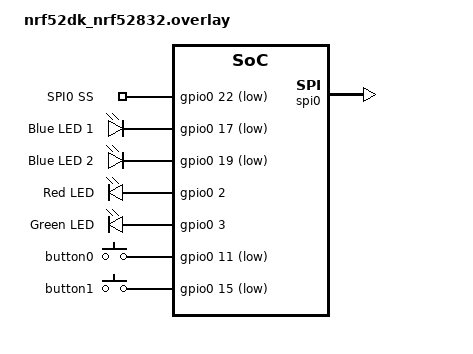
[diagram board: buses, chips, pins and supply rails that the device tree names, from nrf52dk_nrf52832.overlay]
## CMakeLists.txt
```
# SPDX-License-Identifier: Apache-2.0

cmake_minimum_required(VERSION 3.20.0)

find_package(Zephyr REQUIRED HINTS $ENV{ZEPHYR_BASE})
project(hello_world)

target_include_directories(app PRIVATE inc)
target_sources(app PRIVATE src/main.c src/max7219.c)
```

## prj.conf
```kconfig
CONFIG_SPI=y

CONFIG_BT=y
CONFIG_BT_PERIPHERAL=y
CONFIG_BT_DEVICE_NAME="nRF52 to MAX7219"

CONFIG_RTT_CONSOLE=y
CONFIG_LOG=y

CONFIG_FPU=y
```

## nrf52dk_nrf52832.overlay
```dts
// To get started, press Ctrl+Space to bring up the completion menu and view the available nodes.

&led0 {
	gpios = <&gpio0 17 GPIO_ACTIVE_LOW>;
	label = "Blue LED 1";
};

&led1 {
	gpios = <&gpio0 19 GPIO_ACTIVE_LOW>;
	label = "Blue LED 2";
};

&led2 {
	gpios = <&gpio0 2 GPIO_ACTIVE_HIGH>;
	label = "Red LED";
};

&led3 {
	gpios = <&gpio0 3 GPIO_ACTIVE_HIGH>;
	label = "Green LED";
};

&button0 {
	gpios = <&gpio0 11 (GPIO_PULL_UP | GPIO_ACTIVE_LOW)>;
};

&button1 {
	gpios = <&gpio0 15 (GPIO_PULL_UP | GPIO_ACTIVE_LOW)>;
};

&button2 {
	status = "disabled";
	/delete-property/ gpios;
};

&button3 {
	status = "disabled";
	/delete-property/ gpios;
};

&pwm0 {
	status = "disabled";
};


&spi0_default {
	group1 {
		psels = <NRF_PSEL(SPIM_MOSI, 0, 23)>,
			<NRF_PSEL(SPIM_MISO, 0, 24)>,
			<NRF_PSEL(SPIM_SCK, 0, 25)>;
	};
};

&i2c0_default {
	group1 {
		psels = <NRF_PSEL(TWIM_SDA, 0, 26)>,
			<NRF_PSEL(TWIM_SCL, 0, 27)>;
	};
};

my_spi0: &spi0 {
	status = "okay";
};

/ {
	my_gpio0 {
		compatible = "gpio-keys";
		spi0ss: spi0_ss {
			gpios = <&gpio0 22 GPIO_ACTIVE_LOW>;
			label = "SPI0 SS";
		};
	};

	aliases {
		myspi0ss = &spi0ss;
	};
};
```

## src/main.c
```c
#include <zephyr/kernel.h>
#include <zephyr/drivers/gpio.h>
#include <zephyr/drivers/spi.h>

#include <zephyr/settings/settings.h>

#include <zephyr/bluetooth/bluetooth.h>
#include <zephyr/bluetooth/hci.h>
#include <zephyr/bluetooth/uuid.h>
#include <zephyr/bluetooth/conn.h>
#include <zephyr/bluetooth/gatt.h>

#include "max7219.h"

#define LED0_NODE				DT_ALIAS(led0)
#define LED2_NODE				DT_ALIAS(led2)
#define LED3_NODE				DT_ALIAS(led3)
#define SPI0_NODE				DT_NODELABEL(my_spi0)
#define SPI0_SS_NODE			DT_ALIAS(myspi0ss)

#define BT_UUID_SERVICE			BT_UUID_128_ENCODE(0x1b36fd1e, 0x6fc4, 0x4dc6, 0x8c82, 0xc13552b88789)
#define BT_UUID_CHARACTERISTIC	BT_UUID_128_ENCODE(0x4ee58129, 0xa22f, 0x41cd, 0xbdca, 0x4079fe0632d0)
#define BT_CHARACTERISTIC_MAX_LENGTH		6

static const struct gpio_dt_spec led0 = GPIO_DT_SPEC_GET(LED0_NODE, gpios);
static const struct gpio_dt_spec led2 = GPIO_DT_SPEC_GET(LED2_NODE, gpios);
static const struct gpio_dt_spec led3 = GPIO_DT_SPEC_GET(LED3_NODE, gpios);
static const struct gpio_dt_spec spi0_ss = GPIO_DT_SPEC_GET(SPI0_SS_NODE, gpios);

static struct spi_config spi_config = {
	.operation = SPI_WORD_SET(8),
	// 100kHz
	.frequency = 1000000
};

static struct max7219_config max7219_config = {
	.spi_config = &spi_config,
	.gpio_load = &spi0_ss,
	.num_cascading = MAX7219_NUM_CASCADING
};

static uint8_t max7219_tx_buf[MAX7219_NUM_CASCADING * 2];

static struct max7219_data max7219_data = {
	.tx_buf = max7219_tx_buf
};

static struct bt_uuid_128 service_uuid = BT_UUID_INIT_128(BT_UUID_SERVICE);
static struct bt_uuid_128 characteristic_uuid = BT_UUID_INIT_128(BT_UUID_CHARACTERISTIC);

static struct bt_data advertising_data[] = {
	BT_DATA_BYTES(BT_DATA_FLAGS, BT_LE_AD_GENERAL | BT_LE_AD_NO_BREDR),
	BT_DATA_BYTES(BT_DATA_UUID128_ALL, BT_UUID_SERVICE)
};

static uint8_t characteristic_value[BT_CHARACTERISTIC_MAX_LENGTH] = { 0 } ;

void update_7seg()
{
	int32_t price = (characteristic_value[2] << 24) + (characteristic_value[3] << 16) + (characteristic_value[4] << 8) + characteristic_value[5];

	uint8_t digit_value[4] = { 0 };
	
	if (price < 0)
	{
		// マイナス
		// "----" 表示
		for (int i = 0; i < 4; i++)
		{
			digit_value[i] = 0x0A;
		}
	}
	else
	{
		digit_value[0] = (price / 1000) % 10;
		digit_value[1] = (price / 100) % 10;
		digit_value[2] = (price / 10) % 10;
		digit_value[3] = price % 10;

		// 1000 to 10 の位: 0のとき非表示
		for (int i = 0; i < 3; i++)
		{
			if (digit_value[i] == 0)
			{
				digit_value[i] = 0x0F;
			}
			else
			{
				break;
			}
		}
	}

	int i;

	switch (characteristic_value[0])
	{
		case 0:
			// 金額カウント
			// LED: 緑
			gpio_pin_set_dt(&led2, GPIO_ACTIVE_LOW);
			gpio_pin_set_dt(&led3, GPIO_ACTIVE_HIGH);
			// 緑: 金額表示
			for (i = 0x00; i < 0x04; i++)
			{
				max7219_write(&max7219_config, &max7219_data, i + 1, digit_value[i]);
			}

			for (i = 0x04; i < 0x08; i++)
			{
				max7219_write(&max7219_config, &max7219_data, i + 1, 0x0F);
			}
			break;
		case 1:
			// 金額入力
			// LED: 消灯
			gpio_pin_set_dt(&led2, GPIO_ACTIVE_LOW);
			gpio_pin_set_dt(&led3, GPIO_ACTIVE_LOW);
			// オレンジ: 金額表示
			for (i = 0x00; i < 0x04; i++)
			{
				max7219_write(&max7219_config, &max7219_data, i + 1, digit_value[i]);
			}

			for (i = 0x04; i < 0x08; i++)
			{
				max7219_write(&max7219_config, &max7219_data, i + 1, digit_value[i - 4]);
			}
			break;
		case 2:
			// 会計前 総額
			// LED: 赤
			gpio_pin_set_dt(&led2, GPIO_ACTIVE_HIGH);
			gpio_pin_set_dt(&led3, GPIO_ACTIVE_LOW);
			// 赤: 金額表示
			for (i = 0x00; i < 0x04; i++)
			{
				max7219_write(&max7219_config, &max7219_data, i + 1, 0x0F);
			}

			for (i = 0x04; i < 0x08; i++)
			{
				max7219_write(&max7219_config, &max7219_data, i + 1, digit_value[i - 4]);
			}
			break;
		case 3:
			// 会計完了
			// LED: 消灯
			gpio_pin_set_dt(&led2, GPIO_ACTIVE_LOW);
			gpio_pin_set_dt(&led3, GPIO_ACTIVE_LOW);
			// 緑: "0" へ戻す
			for (i = 0x00; i < 0x08; i++)
			{
				max7219_write(&max7219_config, &max7219_data, i + 1, 0x0F);
			}

			max7219_write(&max7219_config, &max7219_data, 0x04, 0x00);
			break;
		default:
			// その他
			// オレンジ: "----" 表示
			for (i = 0x00; i < 0x08; i++)
			{
				max7219_write(&max7219_config, &max7219_data, i + 1, 0x0A);
			}
			break;
	}
}

ssize_t on_read_characteristic(struct bt_conn* conn, const struct bt_gatt_attr* attr, void* buf, uint16_t len, uint16_t offset)
{
	uint8_t* value = (uint8_t*)(attr->user_data);

	return bt_gatt_attr_read(conn, attr, buf, len, offset, value, sizeof(characteristic_value));
}

static ssize_t on_write_characteristic(struct bt_conn* conn, const struct bt_gatt_attr* attr, const void* buf, uint16_t len, uint16_t offset, uint8_t flags)
{
	uint8_t* value = (uint8_t*)(attr->user_data);

	if (offset + len > sizeof(characteristic_value))
	{
		return BT_GATT_ERR(BT_ATT_ERR_INVALID_OFFSET);
	}

	memcpy(value + offset, buf, len);

	update_7seg();

	return len;
}

BT_GATT_SERVICE_DEFINE(gatt_service,
	BT_GATT_PRIMARY_SERVICE(&service_uuid),
	BT_GATT_CHARACTERISTIC(&characteristic_uuid.uuid,
		BT_GATT_CHRC_READ | BT_GATT_CHRC_WRITE,
		BT_GATT_PERM_READ | BT_GATT_PERM_WRITE,
		on_read_characteristic, on_write_characteristic, characteristic_value),
	BT_GATT_CUD("Type, Numbers, Price (6 bytes)", BT_GATT_PERM_READ)
);

static void on_mtu_updated(struct bt_conn* conn, uint16_t tx, uint16_t rx)
{
	printk("Updated MTU: TX=%d, RX=%d\n", tx, rx);
}

static struct bt_gatt_cb gatt_callbacks = {
	.att_mtu_updated = on_mtu_updated
};

static void on_connected(struct bt_conn* conn, uint8_t err)
{
	if (err)
	{
		printk("Connection failed: 0x%02x\n", err);
		return;
	}

	printk("Connected\n");
	// Advertising LED: 消灯
	gpio_pin_set_dt(&led0, GPIO_ACTIVE_LOW);
}

static void on_disconnected(struct bt_conn* conn, uint8_t reason)
{
	printk("Disconnected: 0x%02x\n", reason);
	// Advertising LED: 点灯
	gpio_pin_set_dt(&led0, GPIO_ACTIVE_HIGH);
}

BT_CONN_CB_DEFINE(connected_callbacks) = {
	.connected = on_connected,
	.disconnected = on_disconnected
};

void main(void)
{
	int32_t ret;

	// Advertising LED
	if (!device_is_ready(led0.port))
	{
		printk("LED0 GPIO is not ready\n");
		return;
	}

	ret = gpio_pin_configure_dt(&led0, GPIO_OUTPUT_ACTIVE);
	if (ret < 0)
	{
		printk("LED0 GPIO configure error: %d\n", ret);
		return;
	}

	// Red LED
	if (!device_is_ready(led2.port))
	{
		printk("LED2 GPIO is not ready\n");
		return;
	}

	ret = gpio_pin_configure_dt(&led2, GPIO_OUTPUT_ACTIVE);
	if (ret < 0)
	{
		printk("LED2 GPIO configure error: %d\n", ret);
		return;
	}

	// Green LED
	if (!device_is_ready(led3.port))
	{
		printk("LED3 GPIO is not ready\n");
		return;
	}

	ret = gpio_pin_configure_dt(&led3, GPIO_OUTPUT_ACTIVE);
	if (ret < 0)
	{
		printk("LED3 GPIO configure error: %d\n", ret);
		return;
	}

	// LED: 点灯
	gpio_pin_set_dt(&led0, GPIO_ACTIVE_HIGH);

	// LED: 消灯
	gpio_pin_set_dt(&led2, GPIO_ACTIVE_LOW);
	gpio_pin_set_dt(&led3, GPIO_ACTIVE_LOW);

	// MAX7219
	// device 取得
	max7219_config.device_spi = DEVICE_DT_GET(SPI0_NODE);

	ret = max7219_init(&max7219_config);
	if (ret < 0)
	{
		printk("MAX7219 init error: %d\n", ret);
		return;
	}

	k_msleep(100);
	// Display Test
	max7219_display_test_on(&max7219_config, &max7219_data);
	k_msleep(100);
	max7219_display_test_off(&max7219_config, &max7219_data);
	max7219_shutdown_cancel(&max7219_config, &max7219_data);
	// Decode Mode
	max7219_set_scan_limit(&max7219_config, &max7219_data, MAX7219_SCAN_LIMIT_0_TO_7);
	max7219_decode_mode_b_0_to_7(&max7219_config, &max7219_data);
	k_msleep(100);

	// 緑: "0" と表示
	for (int i = 0x01; i <= 0x08; i++)
	{
		max7219_write(&max7219_config, &max7219_data, i, 0x0F);
	}
	max7219_write(&max7219_config, &max7219_data, 0x04, 0x00);

	// Bluetooth
	ret = bt_enable(NULL);

	if (ret)
	{
		printk("Bluetooth init failed: %d\n", ret);
		return;
	}

	if (IS_ENABLED(CONFIG_SETTINGS))
	{
		settings_load();
	}

	ret = bt_le_adv_start(BT_LE_ADV_CONN_NAME, advertising_data, ARRAY_SIZE(advertising_data), NULL, 0);
	if (ret)
	{
		printk("Advertising failed to start: %d\n", ret);
		return;
	}

	bt_gatt_cb_register(&gatt_callbacks);
	
	while (1) {
		k_msleep(50);
	}
}
```

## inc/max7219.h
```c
#pragma once

#include <zephyr/kernel.h>
#include <zephyr/drivers/spi.h>

#define MAX7219_NUM_CASCADING				1

#define MAX7219_REGISTER_NO_OPERATION		0x00
#define MAX7219_REGISTER_DIGIT_0			0x01
#define MAX7219_REGISTER_DIGIT_1			0x02
#define MAX7219_REGISTER_DIGIT_2			0x03
#define MAX7219_REGISTER_DIGIT_3			0x04
#define MAX7219_REGISTER_DIGIT_4			0x05
#define MAX7219_REGISTER_DIGIT_5			0x06
#define MAX7219_REGISTER_DIGIT_6			0x07
#define MAX7219_REGISTER_DIGIT_7			0x08
#define MAX7219_REGISTER_DECODE_MODE		0x09
#define MAX7219_REGISTER_INTENSITY			0x0A
#define MAX7219_REGISTER_SCAN_LIMIT			0x0B
#define MAX7219_REGISTER_SHUTDOWN			0x0C
#define MAX7219_REGISTER_DISPLAY_TEST		0x0F

#define MAX7219_DECODE_NO					0x00
#define MAX7219_DECODE_CODE_B_0				0x01
#define MAX7219_DECODE_CODE_B_0_TO_3		0x0F
#define MAX7219_DECODE_CODE_B_0_TO_7		0xFF

#define MAX7219_CODE_B_HYPHEN				0x0A
#define MAX7219_CODE_B_E					0x0B
#define MAX7219_CODE_B_H					0x0C
#define MAX7219_CODE_B_L					0x0D
#define MAX7219_CODE_B_P					0x0E
#define MAX7219_CODE_B_BLANK				0x0F
#define MAX7219_CODE_B_COMMA				0x80

#define MAX7219_INTENSITY_1_PER_32			0x00
#define MAX7219_INTENSITY_3_PER_32			0x01
#define MAX7219_INTENSITY_5_PER_32			0x02
#define MAX7219_INTENSITY_7_PER_32			0x03
#define MAX7219_INTENSITY_9_PER_32			0x04
#define MAX7219_INTENSITY_11_PER_32			0x05
#define MAX7219_INTENSITY_13_PER_32			0x06
#define MAX7219_INTENSITY_15_PER_32			0x07
#define MAX7219_INTENSITY_17_PER_32			0x08
#define MAX7219_INTENSITY_19_PER_32			0x09
#define MAX7219_INTENSITY_21_PER_32			0x0A
#define MAX7219_INTENSITY_23_PER_32			0x0B
#define MAX7219_INTENSITY_25_PER_32			0x0C
#define MAX7219_INTENSITY_27_PER_32			0x0D
#define MAX7219_INTENSITY_29_PER_32			0x0E
#define MAX7219_INTENSITY_31_PER_32			0x0F

#define MAX7219_SCAN_LIMIT_0				0x00
#define MAX7219_SCAN_LIMIT_0_TO_1			0x01
#define MAX7219_SCAN_LIMIT_0_TO_2			0x02
#define MAX7219_SCAN_LIMIT_0_TO_3			0x03
#define MAX7219_SCAN_LIMIT_0_TO_4			0x04
#define MAX7219_SCAN_LIMIT_0_TO_5			0x05
#define MAX7219_SCAN_LIMIT_0_TO_6			0x06
#define MAX7219_SCAN_LIMIT_0_TO_7			0x07

#define MAX7219_SHUTDOWN_EXECUTE			0x00
#define MAX7219_SHUTDOWN_CANCEL				0x01

#define MAX7219_DISPLAY_TEST_ON				0x01
#define MAX7219_DISPLAY_TEST_OFF			0x00

struct max7219_config {
	const struct device* device_spi;
	const struct gpio_dt_spec* gpio_load;
	struct spi_config* spi_config;
	uint32_t num_cascading;
};

struct max7219_data {
	uint8_t *tx_buf;
};

int max7219_init(struct max7219_config* config);

int max7219_write(struct max7219_config* config, struct max7219_data* data, const uint8_t address, const uint8_t value);

int max7219_decode_mode_no(struct max7219_config* config, struct max7219_data* data);

int max7219_decode_mode_b_0(struct max7219_config* config, struct max7219_data* data);

int max7219_decode_mode_b_0_to_3(struct max7219_config* config, struct max7219_data* data);

int max7219_decode_mode_b_0_to_7(struct max7219_config* config, struct max7219_data* data);

int max7219_set_intensity(struct max7219_config* config, struct max7219_data* data, const uint8_t value);

int max7219_set_scan_limit(struct max7219_config* config, struct max7219_data* data, const uint8_t value);

int max7219_shutdown_execute(struct max7219_config* config, struct max7219_data* data);

int max7219_shutdown_cancel(struct max7219_config* config, struct max7219_data* data);

int max7219_display_test_on(struct max7219_config* config, struct max7219_data* data);

int max7219_display_test_off(struct max7219_config* config, struct max7219_data* data);
```

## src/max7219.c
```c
#include "max7219.h"

int max7219_init(struct max7219_config* config)
{
	if (!device_is_ready(config->device_spi))
	{
		printk("spi0 is not ready");
		return -ENODEV;
	}

	if (!device_is_ready(config->gpio_load->port))
	{
		printk("LOAD pin is not ready");
		return -ENODEV;
	}

	int ret = gpio_pin_configure_dt(config->gpio_load, GPIO_OUTPUT_INACTIVE);
	if (ret < 0)
	{
		printk("LOAD pin gpio_pin_configure_dt() return code: %d", ret);
		return ret;
	}

	return 0;
}

int max7219_write(struct max7219_config* config, struct max7219_data* data, const uint8_t address, const uint8_t value)
{
	struct spi_buf tx_buf = {
		.buf = data->tx_buf,
		.len = config->num_cascading * 2
	};
	struct spi_buf_set tx_buf_set = {
		.buffers = &tx_buf,
		.count = 1
	};

	for (uint32_t i = 0; i < config->num_cascading; i++)
	{
		data->tx_buf[i * 2] = address;
		data->tx_buf[i * 2 + 1] = value;
	}

	int ret = gpio_pin_set_dt(config->gpio_load, GPIO_ACTIVE_LOW);
	if (ret < 0)
	{
		return ret;
	}

	ret = spi_write(config->device_spi, config->spi_config, &tx_buf_set);
	if (ret < 0)
	{
		return ret;
	}

	return gpio_pin_set_dt(config->gpio_load, GPIO_ACTIVE_HIGH);
}

int max7219_decode_mode_no(struct max7219_config* config, struct max7219_data* data)
{
	return max7219_write(config, data, MAX7219_REGISTER_DECODE_MODE, MAX7219_DECODE_NO);
}

int max7219_decode_mode_b_0(struct max7219_config* config, struct max7219_data* data)
{
	return max7219_write(config, data, MAX7219_REGISTER_DECODE_MODE, MAX7219_DECODE_CODE_B_0);
}

int max7219_decode_mode_b_0_to_3(struct max7219_config* config, struct max7219_data* data)
{
	return max7219_write(config, data, MAX7219_REGISTER_DECODE_MODE, MAX7219_DECODE_CODE_B_0_TO_3);
}

int max7219_decode_mode_b_0_to_7(struct max7219_config* config, struct max7219_data* data)
{
	return max7219_write(config, data, MAX7219_REGISTER_DECODE_MODE, MAX7219_DECODE_CODE_B_0_TO_7);
}

int max7219_set_intensity(struct max7219_config* config, struct max7219_data* data, const uint8_t value)
{
	return max7219_write(config, data, MAX7219_REGISTER_INTENSITY, value);
}

int max7219_set_scan_limit(struct max7219_config* config, struct max7219_data* data, const uint8_t value)
{
	return max7219_write(config, data, MAX7219_REGISTER_SCAN_LIMIT, value);
}

int max7219_shutdown_execute(struct max7219_config* config, struct max7219_data* data)
{
	return max7219_write(config, data, MAX7219_REGISTER_SHUTDOWN, MAX7219_SHUTDOWN_EXECUTE);
}

int max7219_shutdown_cancel(struct max7219_config* config, struct max7219_data* data)
{
	return max7219_write(config, data, MAX7219_REGISTER_SHUTDOWN, MAX7219_SHUTDOWN_CANCEL);
}

int max7219_display_test_on(struct max7219_config* config, struct max7219_data* data)
{
	return max7219_write(config, data, MAX7219_REGISTER_DISPLAY_TEST, MAX7219_DISPLAY_TEST_ON);
}

int max7219_display_test_off(struct max7219_config* config, struct max7219_data* data)
{
	return max7219_write(config, data, MAX7219_REGISTER_DISPLAY_TEST, MAX7219_DISPLAY_TEST_OFF);
}
```
